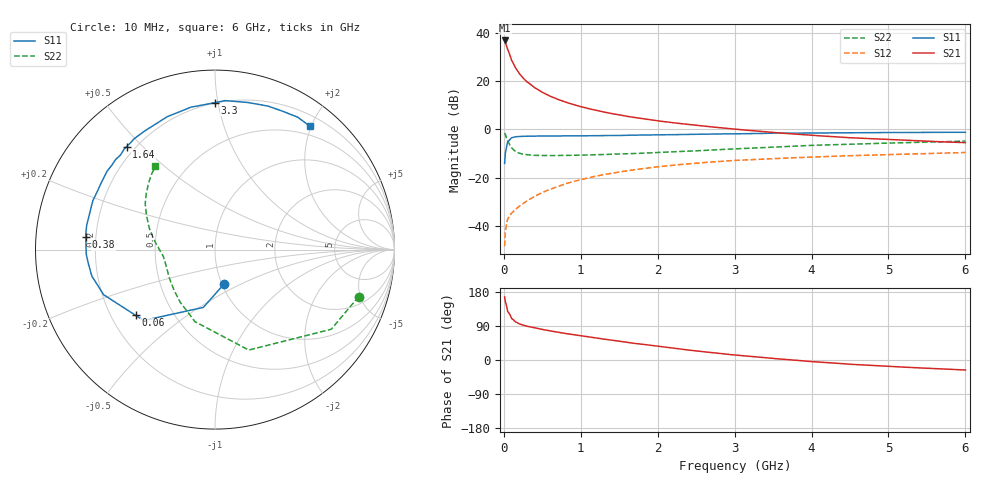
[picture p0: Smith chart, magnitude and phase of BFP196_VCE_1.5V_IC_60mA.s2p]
! Infineon Technologies  Discrete & RF Semiconductors
! BFP196
! VCE = 1.5 V,  IC =  60mA
! Common Emitter S-Parameters:  Jan 2016
# GHz  S  MA  R  50
!  f  S11  S21  S12  S22
! GHz  MAG  ANG  MAG  ANG  MAG  ANG  MAG  ANG
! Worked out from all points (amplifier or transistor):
!   210 points, 10 MHz to 6 GHz, reference 50 ohm
!   highest |S21| = 36.8 dB at 10 MHz (marker M1)
!   |S21| within 3 dB of that: start of sweep to 42.3 MHz
!   unconditionally stable (mu >= 1): 380.3 MHz to 5.232 GHz; 5.84 GHz to end of sweep
!   at 185 MHz: K = 0.79, MSG = 28.1 dB, |S12| = -32.3 dB
!   at 1.52 GHz: K = 1.10, MAG = 9.8 dB, |S12| = -17.6 dB
!   at 6 GHz: K = 1.00, MAG = 1.8 dB, |S12| = -9.6 dB
!   S11 on the Smith chart (normalised r, x): 10 MHz: 1.03, -0.41; 60 MHz: 0.30, -0.33; 380 MHz: 0.16, +0.05; 1.64 GHz: 0.17, +0.45; 3.3 GHz: 0.20, +0.98; 6 GHz: 0.36, +1.98
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0.01  0.1963 -74.4  69.35 166.4  0.0038 76.5  0.8423 -18.1
0.02  0.3285 -101.4  63.72 153.2  0.0076 68.1  0.7852 -34.4
0.05  0.5606 -135.2  45.42 128.2  0.0139 52.6  0.5904 -71.4
0.06  0.5743 -140.4  41.51 125.8  0.0148 51.6  0.5434 -76.3
0.1  0.6697 -158.0  27.13 109.6  0.0183 48.7  0.4168 -105.5
0.15  0.702 -167.9  18.87 100.8  0.0217 51.1  0.3506 -123.8
0.2  0.7098 -173.7  14.38 95.4  0.0254 54.4  0.3211 -135.3
0.24  0.716 -177.0  12.09 92.7  0.0282 56.1  0.3082 -142.0
0.3  0.7185 179.2  9.656 89.1  0.0329 59.2  0.2984 -148.9
0.38  0.7232 174.6  7.769 85.7  0.0391 61.7  0.291 -155.1
0.4  0.7251 173.4  7.303 84.6  0.0407 62.2  0.2897 -156.7
0.5  0.7277 169.3  5.843 80.7  0.0488 63.6  0.2867 -161.8
0.6  0.7261 165.2  4.875 76.8  0.0574 64.3  0.2861 -165.1
0.8  0.7331 158.1  3.67 70.0  0.0742 63.1  0.2885 -169.8
1.02  0.7347 149.9  2.897 63.3  0.0923 61.6  0.2925 -173.6
1.64  0.7559 130.7  1.818 45.5  0.1412 53.3  0.3141 178.5
2.02  0.7686 120.1  1.488 35.9  0.1687 47.5  0.3322 173.7
3.1  0.8103 93.8  0.977 11.4  0.2308 31.1  0.3997 158.6
3.3  0.8193 89.9  0.917 7.9  0.2391 28.2  0.4138 155.8
4.1  0.8413 75.8  0.735 -5.5  0.2699 18.1  0.4705 145.5
5.1  0.86 62.6  0.605 -17.8  0.3032 6.8  0.5238 134.8
6  0.8672 52.5  0.53 -26.4  0.3311 -3.2  0.5705 125.7
